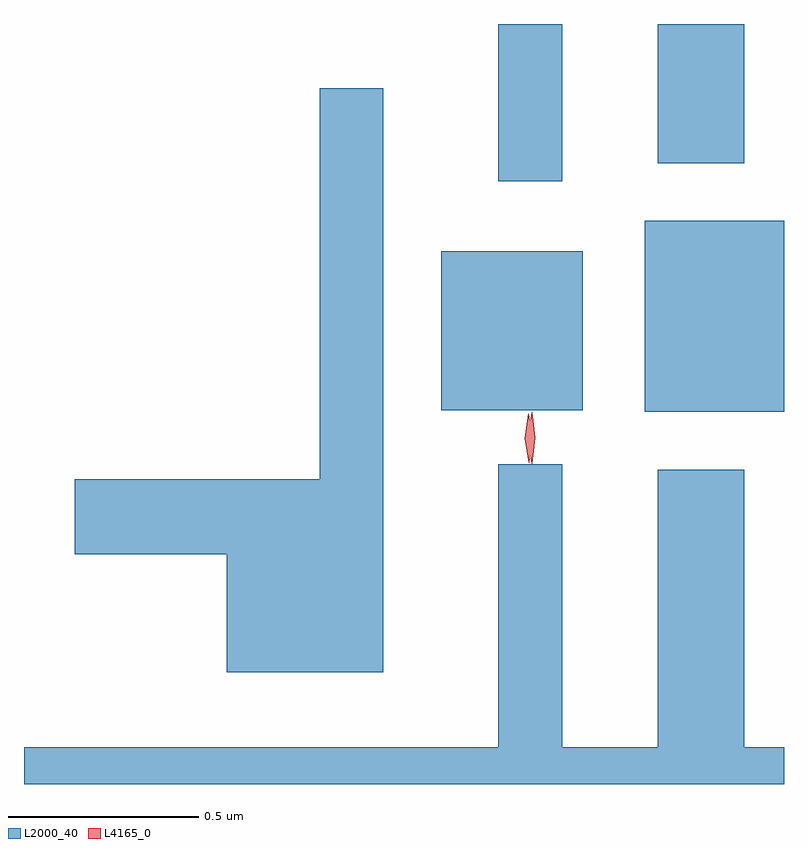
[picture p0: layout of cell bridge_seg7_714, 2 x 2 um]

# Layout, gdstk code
import gdstk
lib = gdstk.Library(unit=1e-6, precision=1e-09)
def R(c, l, rs):  # rectangles x0, y0, x1, y1
    for r in rs: c.add(gdstk.rectangle(r[:2], r[2:], *l))
def P(c, l, *ps):  # polygons
    for p in ps: c.add(gdstk.Polygon(p, *l))
L2000_40 = (2000, 40)
L4165_0 = (4165, 0)

bridge_seg7_714 = lib.new_cell('bridge_seg7_714')
R(bridge_seg7_714, L2000_40, [(975.266,1719.906,975.633,1720.409), (974.731,1719.911,975.104,1720.329), (974.881,1720.513,975.049,1720.927), (975.301,1720.561,975.529,1720.927)])
P(bridge_seg7_714, L2000_40, [(974.579,1720.758),(974.411,1720.758),(974.411,1719.729),(973.766,1719.729),(973.766,1719.531),(974.166,1719.531),(974.166,1719.221),(974.579,1719.221)],
  [(975.633,1719.024),(975.529,1719.024),(975.529,1719.754),(975.301,1719.754),(975.301,1719.024),(975.049,1719.024),(975.049,1719.768),(974.881,1719.768),(974.881,1719.024),(973.633,1719.024),(973.633,1718.927),(975.633,1718.927)])
P(bridge_seg7_714, L4165_0, [(974.969,1719.77),(974.969,1719.77),(974.959,1719.838),(974.969,1719.905),(974.969,1719.906),(974.97,1719.905),(974.979,1719.838),(974.97,1719.77)],
  [(974.961,1719.773),(974.961,1719.773),(974.951,1719.837),(974.96,1719.901),(974.96,1719.902),(974.961,1719.901),(974.971,1719.837),(974.962,1719.773)])

lib.write_gds('bridge_seg7_714.gds')
